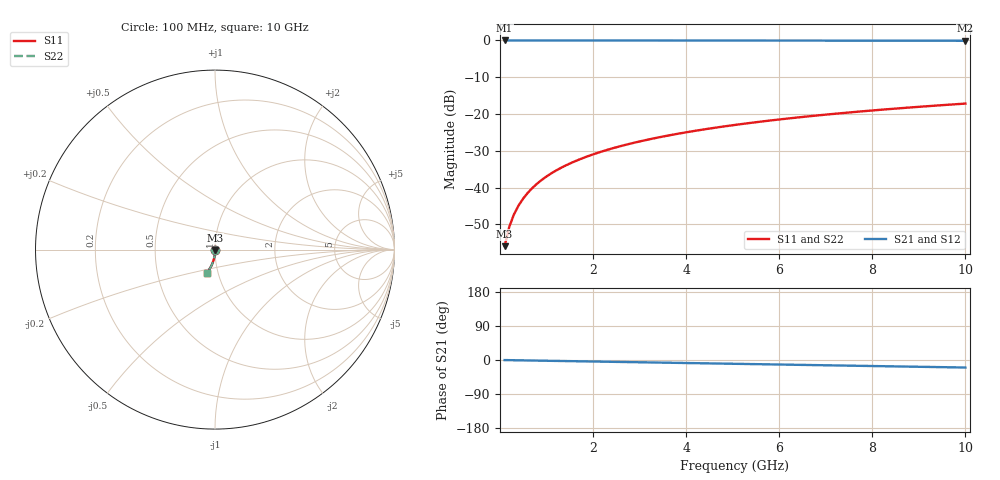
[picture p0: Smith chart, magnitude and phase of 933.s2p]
# Hz S RI R 50.00
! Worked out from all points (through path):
!   100 points, 100 MHz to 10 GHz, reference 50 ohm
!   highest |S21| = -0.01 dB at 100 MHz (marker M1); lowest = -0.1 dB at 10 GHz (marker M2)
!   group delay of S21, straight-line fit = 5.52 ps
!   lowest |S11| = -56.0 dB at 100 MHz (marker M3), VSWR 1.00, Z = 50.1 - j0.141 ohm
!   |S11| at or under -10 dB: start of sweep to end of sweep
!   |S22| runs from -56.0 to -17.2 dB; largest |S21 - S12| = 0
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1e8  0.000736 -0.00141  0.9992 -0.00347  0.9992 -0.00347  0.000736 -0.00141
2e8  0.000724 -0.00282  0.9992 -0.00693  0.9992 -0.00693  0.000724 -0.00282
3e8  0.000701 -0.00424  0.9992 -0.0104  0.9992 -0.0104  0.000701 -0.00424
4e8  0.000667 -0.00565  0.9991 -0.0139  0.9991 -0.0139  0.000667 -0.00565
5e8  0.000624 -0.00706  0.9991 -0.0173  0.9991 -0.0173  0.000624 -0.00706
6e8  0.00057 -0.00847  0.999 -0.0208  0.999 -0.0208  0.00057 -0.00847
7e8  0.000506 -0.00988  0.9989 -0.0243  0.9989 -0.0243  0.000506 -0.00988
8e8  0.000432 -0.0113  0.9988 -0.0277  0.9988 -0.0277  0.000432 -0.0113
9e8  0.000348 -0.0127  0.9986 -0.0312  0.9986 -0.0312  0.000348 -0.0127
1.1e9  0.000151 -0.0155  0.9984 -0.0381  0.9984 -0.0381  0.000151 -0.0155
1.4e9  -0.000218 -0.0197  0.9978 -0.0485  0.9978 -0.0485  -0.000218 -0.0197
1.8e9  -0.000848 -0.0254  0.9969 -0.0623  0.9969 -0.0623  -0.000848 -0.0254
2.1e9  -0.00142 -0.0296  0.9961 -0.0727  0.9961 -0.0727  -0.00142 -0.0296
2.5e9  -0.00233 -0.0352  0.9948 -0.0865  0.9948 -0.0865  -0.00233 -0.0352
2.9e9  -0.00338 -0.0407  0.9933 -0.1003  0.9933 -0.1003  -0.00338 -0.0407
3.4e9  -0.00492 -0.0476  0.991 -0.1175  0.991 -0.1175  -0.00492 -0.0476
4.2e9  -0.00788 -0.0586  0.9868 -0.1449  0.9868 -0.1449  -0.00788 -0.0586
5.1e9  -0.0119 -0.0706  0.9809 -0.1755  0.9809 -0.1755  -0.0119 -0.0706
5.9e9  -0.0162 -0.0812  0.9748 -0.2025  0.9748 -0.2025  -0.0162 -0.0812
6.7e9  -0.021 -0.0914  0.9678 -0.2292  0.9678 -0.2292  -0.021 -0.0914
8.4e9  -0.033 -0.1122  0.9502 -0.2851  0.9502 -0.2851  -0.033 -0.1122
1e10  -0.0464 -0.1304  0.9304 -0.3362  0.9304 -0.3362  -0.0464 -0.1304
